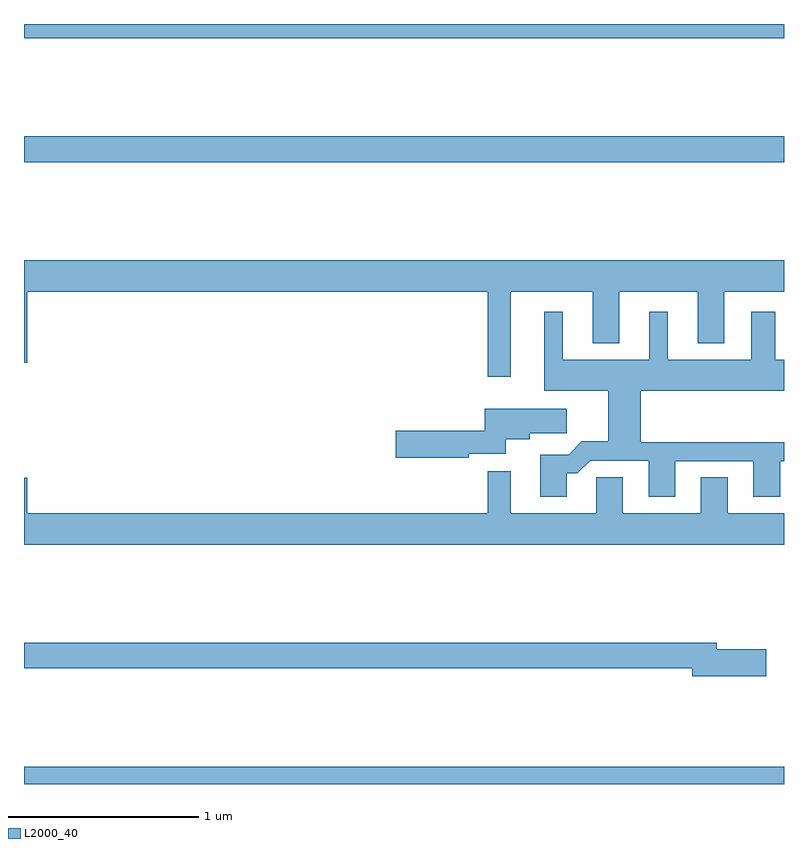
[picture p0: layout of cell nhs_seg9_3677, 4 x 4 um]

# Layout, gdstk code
import gdstk
lib = gdstk.Library(unit=1e-6, precision=1e-09)
def R(c, l, rs):  # rectangles x0, y0, x1, y1
    for r in rs: c.add(gdstk.rectangle(r[:2], r[2:], *l))
def P(c, l, *ps):  # polygons
    for p in ps: c.add(gdstk.Polygon(p, *l))
L2000_40 = (2000, 40)

nhs_seg9_3677 = lib.new_cell('nhs_seg9_3677')
R(nhs_seg9_3677, L2000_40, [(321,1188.5,325,1188.592), (321,1191.772,325,1191.908), (321,1192.424,325,1192.5)])
P(nhs_seg9_3677, L2000_40, [(323.563,1191.092),(323.993,1191.092),(323.993,1190.819),(324.133,1190.819),(324.133,1191.092),(324.545,1191.092),(324.545,1190.819),(324.685,1190.819),(324.685,1191.092),(325,1191.092),(325,1191.256),(321,1191.256),(321,1190.718),(321.016,1190.718),(321.016,1191.092),(323.442,1191.092),(323.442,1190.643),(323.563,1190.643)],
  [(323.857,1190.135),(323.912,1190.135),(323.979,1190.202),(324.287,1190.202),(324.287,1190.013),(324.427,1190.013),(324.427,1190.199),(324.839,1190.199),(324.839,1190.013),(324.979,1190.013),(324.979,1190.199),(325,1190.199),(325,1190.3),(324.245,1190.3),(324.245,1190.57),(325,1190.57),(325,1190.734),(324.955,1190.734),(324.955,1190.986),(324.827,1190.986),(324.827,1190.734),(324.388,1190.734),(324.388,1190.986),(324.29,1190.986),(324.29,1190.734),(323.836,1190.734),(323.836,1190.986),(323.738,1190.986),(323.738,1190.57),(324.074,1190.57),(324.074,1190.303),(323.936,1190.303),(323.866,1190.233),(323.717,1190.233),(323.717,1190.013),(323.857,1190.013)],
  [(323.34,1190.237),(323.536,1190.237),(323.536,1190.315),(323.662,1190.315),(323.662,1190.347),(323.857,1190.347),(323.857,1190.476),(323.426,1190.476),(323.426,1190.36),(322.956,1190.36),(322.956,1190.218),(323.34,1190.218)],
  [(325,1189.924),(324.703,1189.924),(324.703,1190.114),(324.563,1190.114),(324.563,1189.924),(324.151,1189.924),(324.151,1190.114),(324.012,1190.114),(324.012,1189.924),(323.563,1189.924),(323.563,1190.146),(323.442,1190.146),(323.442,1189.924),(321.016,1189.924),(321.016,1190.113),(321,1190.113),(321,1189.76),(325,1189.76)],
  [(324.907,1189.208),(324.646,1189.208),(324.646,1189.244),(321,1189.244),(321,1189.108),(324.518,1189.108),(324.518,1189.066),(324.907,1189.066)])

lib.write_gds('nhs_seg9_3677.gds')
